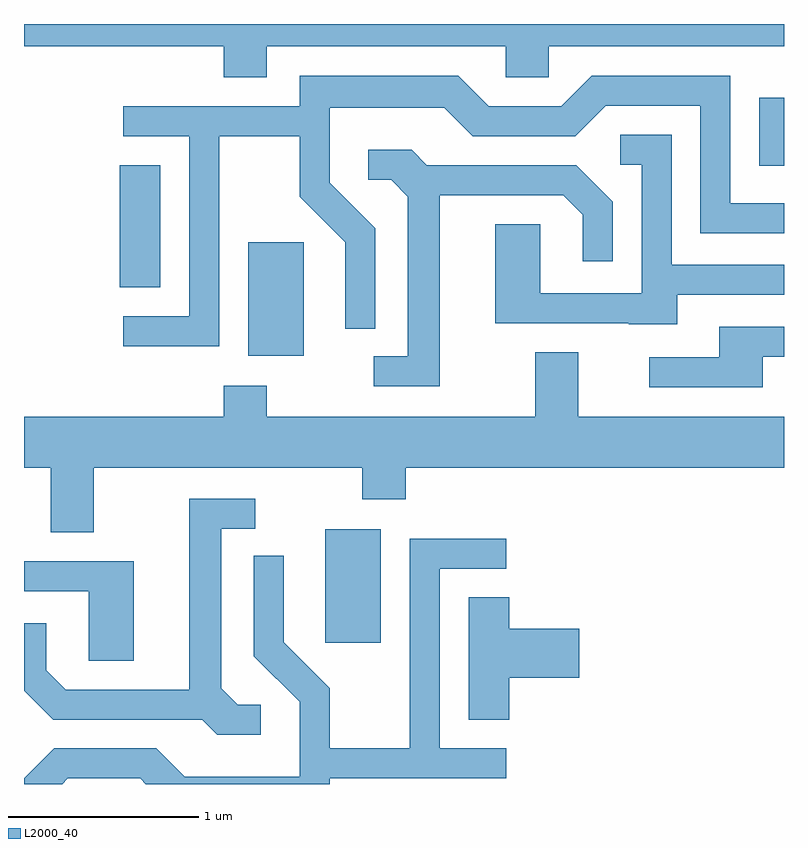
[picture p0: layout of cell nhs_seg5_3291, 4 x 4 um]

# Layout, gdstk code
import gdstk
lib = gdstk.Library(unit=1e-6, precision=1e-09)
def R(c, l, rs):  # rectangles x0, y0, x1, y1
    for r in rs: c.add(gdstk.rectangle(r[:2], r[2:], *l))
def P(c, l, *ps):  # polygons
    for p in ps: c.add(gdstk.Polygon(p, *l))
L2000_40 = (2000, 40)

nhs_seg5_3291 = lib.new_cell('nhs_seg5_3291')
R(nhs_seg5_3291, L2000_40, [(285.196,1404.816,285.489,1405.414), (284.791,1406.326,285.084,1406.924), (284.116,1406.686,284.329,1407.329), (287.481,1407.326,287.611,1407.683)])
P(nhs_seg5_3291, L2000_40, [(284.889,1407.956),(286.146,1407.956),(286.146,1407.791),(286.374,1407.791),(286.374,1407.956),(287.611,1407.956),(287.611,1408.072),(283.611,1408.072),(283.611,1407.956),(284.661,1407.956),(284.661,1407.791),(284.889,1407.791)],
  [(284.639,1407.481),(285.061,1407.481),(285.061,1407.164),(285.301,1406.924),(285.301,1406.468),(285.459,1406.468),(285.459,1406.997),(285.219,1407.237),(285.219,1407.631),(285.824,1407.631),(285.974,1407.481),(286.512,1407.481),(286.672,1407.641),(287.171,1407.641),(287.171,1406.971),(287.611,1406.971),(287.611,1407.129),(287.329,1407.129),(287.329,1407.799),(286.599,1407.799),(286.439,1407.639),(286.057,1407.639),(285.897,1407.799),(285.061,1407.799),(285.061,1407.639),(284.133,1407.639),(284.133,1407.481),(284.481,1407.481),(284.481,1406.534),(284.133,1406.534),(284.133,1406.376),(284.639,1406.376)],
  [(287.049,1406.646),(287.611,1406.646),(287.611,1406.804),(287.019,1406.804),(287.019,1407.489),(286.748,1407.489),(286.748,1407.331),(286.861,1407.331),(286.861,1406.654),(286.329,1406.654),(286.329,1407.019),(286.091,1407.019),(286.091,1406.496),(286.795,1406.496),(286.795,1406.491),(287.049,1406.491)],
  [(285.799,1407.171),(286.449,1407.171),(286.551,1407.069),(286.551,1406.823),(286.709,1406.823),(286.709,1407.137),(286.517,1407.329),(285.732,1407.329),(285.652,1407.409),(285.423,1407.409),(285.423,1407.251),(285.544,1407.251),(285.631,1407.164),(285.631,1406.324),(285.453,1406.324),(285.453,1406.166),(285.799,1406.166)],
  [(287.499,1406.321),(287.611,1406.321),(287.611,1406.479),(287.271,1406.479),(287.271,1406.319),(286.903,1406.319),(286.903,1406.161),(287.499,1406.161)],
  [(283.979,1405.736),(285.391,1405.736),(285.391,1405.571),(285.619,1405.571),(285.619,1405.736),(287.611,1405.736),(287.611,1406.004),(286.529,1406.004),(286.529,1406.344),(286.301,1406.344),(286.301,1406.004),(284.889,1406.004),(284.889,1406.169),(284.661,1406.169),(284.661,1406.004),(283.611,1406.004),(283.611,1405.736),(283.751,1405.736),(283.751,1405.396),(283.979,1405.396)],
  [(284.858,1404.489),(284.737,1404.489),(284.649,1404.577),(284.649,1405.416),(284.828,1405.416),(284.828,1405.574),(284.481,1405.574),(284.481,1404.569),(283.832,1404.569),(283.729,1404.672),(283.729,1404.918),(283.611,1404.918),(283.611,1404.564),(283.764,1404.411),(284.549,1404.411),(284.629,1404.331),(284.858,1404.331)],
  [(283.842,1404.101),(284.224,1404.101),(284.253,1404.072),(285.219,1404.072),(285.219,1404.101),(286.148,1404.101),(286.148,1404.259),(285.799,1404.259),(285.799,1405.206),(286.148,1405.206),(286.148,1405.364),(285.641,1405.364),(285.641,1404.259),(285.219,1404.259),(285.219,1404.577),(284.979,1404.817),(284.979,1405.273),(284.821,1405.273),(284.821,1404.744),(285.061,1404.504),(285.061,1404.109),(284.457,1404.109),(284.307,1404.259),(283.769,1404.259),(283.611,1404.101),(283.611,1404.072),(283.813,1404.072)],
  [(284.189,1405.244),(283.611,1405.244),(283.611,1405.086),(283.951,1405.086),(283.951,1404.721),(284.189,1404.721)],
  [(286.164,1404.631),(286.534,1404.631),(286.534,1404.889),(286.164,1404.889),(286.164,1405.054),(285.951,1405.054),(285.951,1404.411),(286.164,1404.411)])

lib.write_gds('nhs_seg5_3291.gds')
